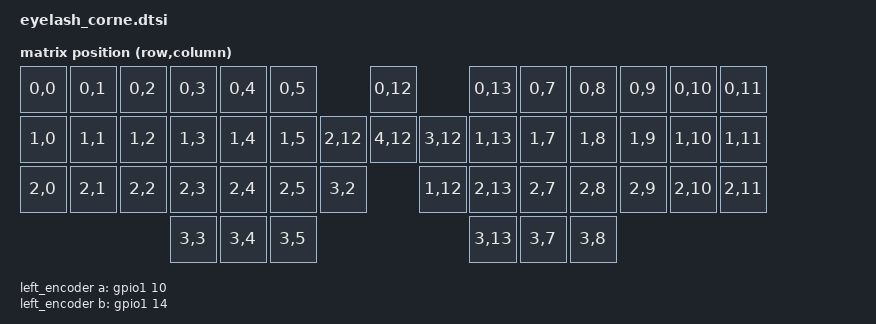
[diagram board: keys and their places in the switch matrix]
/*
*
* Copyright (c) 2021 Darryl deHaan
* SPDX-License-Identifier: MIT
*
*/

#include <dt-bindings/led/led.h>
#include <dt-bindings/zmk/matrix_transform.h>
#include "eyelash_corne-layouts.dtsi"

/ {

    chosen {
        zmk,kscan = &kscan0;
        zmk,battery = &vbatt;
        zmk,physical-layout = &eyeslash_corne_layout;
        zmk,underglow = &led_strip;
        zmk,backlight = &backlight;

        /*
         * Display is intentionally NOT selected here.
         * The display shield will set:
         *
         * zephyr,display = &nice_view;
         */
    };

    left_encoder: encoder_left {
        compatible = "alps,ec11";
        label = "LEFT_ENCODER";
        steps = <24>;
        a-gpios = <&gpio1 10 (GPIO_ACTIVE_HIGH | GPIO_PULL_UP)>;
        b-gpios = <&gpio1 14 (GPIO_ACTIVE_HIGH | GPIO_PULL_UP)>;
        status = "disabled";
    };

    backlight: pwmleds {
        compatible = "pwm-leds";

        pwm_led_0 {
            pwms = <&pwm0 0 PWM_MSEC(1) PWM_POLARITY_NORMAL>;
        };
    };

    sensors {
        compatible = "zmk,keymap-sensors";
        sensors = <&left_encoder>;
    };

    kscan0: kscan {
        wakeup-source;
        diode-direction = "col2row";
    };

    EXT_POWER {
        compatible = "zmk,ext-power-generic";
        control-gpios = <&gpio0 13 GPIO_ACTIVE_HIGH>;
        init-delay-ms = <50>;
    };

    vbatt: vbatt {
        compatible = "zmk,battery-nrf-vddh";
    };

    default_transform: keymap_transform_0 {
        compatible = "zmk,matrix-transform";
        columns = <14>;
        rows = <5>;

        map = <
            RC(0,0) RC(0,1) RC(0,2) RC(0,3) RC(0,4) RC(0,5)                      RC(0,12)           RC(0,13) RC(0,7) RC(0,8) RC(0,9) RC(0,10) RC(0,11)
            RC(1,0) RC(1,1) RC(1,2) RC(1,3) RC(1,4) RC(1,5)             RC(2,12) RC(4,12) RC(3,12)  RC(1,13) RC(1,7) RC(1,8) RC(1,9) RC(1,10) RC(1,11)
            RC(2,0) RC(2,1) RC(2,2) RC(2,3) RC(2,4) RC(2,5) RC(3,2)              RC(1,12)           RC(2,13) RC(2,7) RC(2,8) RC(2,9) RC(2,10) RC(2,11)
                                    RC(3,3) RC(3,4) RC(3,5)                                         RC(3,13) RC(3,7) RC(3,8)
        >;
    };
};


zephyr_udc0: &usbd {
    compatible = "nordic,nrf-usbd";
    status = "okay";
};


/*
 * Pin configuration
 *
 * Display:
 *   SCK  = P0.20
 *   MOSI = P0.17
 *   MISO = P0.25
 *
 * These are the pins used by the working nice!view firmware.
 */
&pinctrl {

    spi0_default: spi0_default {
        group1 {
            psels = <NRF_PSEL(SPIM_SCK, 0, 20)>,
                    <NRF_PSEL(SPIM_MOSI, 0, 17)>,
                    <NRF_PSEL(SPIM_MISO, 0, 25)>;
        };
    };

    spi0_sleep: spi0_sleep {
        group1 {
            psels = <NRF_PSEL(SPIM_SCK, 0, 20)>,
                    <NRF_PSEL(SPIM_MOSI, 0, 17)>,
                    <NRF_PSEL(SPIM_MISO, 0, 25)>;
            low-power-enable;
        };
    };


    /*
     * RGB underglow
     */
    spi3_default: spi3_default {
        group1 {
            psels = <NRF_PSEL(SPIM_MOSI, 1, 12)>;
        };
    };

    spi3_sleep: spi3_sleep {
        group1 {
            psels = <NRF_PSEL(SPIM_MOSI, 1, 12)>;
            low-power-enable;
        };
    };


    /*
     * Backlight
     */
    pwm0_default: pwm0_default {
        group1 {
            psels = <NRF_PSEL(PWM_OUT0, 1, 13)>;
        };
    };

    pwm0_sleep: pwm0_sleep {
        group1 {
            psels = <NRF_PSEL(PWM_OUT0, 1, 13)>;
            low-power-enable;
        };
    };
};


/*
 * nice!view / LS0XX SPI bus
 *
 * CS = P0.06
 */
nice_view_spi: &spi0 {
    compatible = "nordic,nrf-spim";
    status = "okay";

    pinctrl-0 = <&spi0_default>;
    pinctrl-1 = <&spi0_sleep>;
    pinctrl-names = "default", "sleep";

    cs-gpios = <&gpio0 6 GPIO_ACTIVE_HIGH>;
};


/*
 * RGB underglow
 */
&spi3 {
    compatible = "nordic,nrf-spim";
    status = "okay";

    pinctrl-0 = <&spi3_default>;
    pinctrl-1 = <&spi3_sleep>;
    pinctrl-names = "default", "sleep";

    led_strip: ws2812@0 {
        compatible = "worldsemi,ws2812-spi";

        reg = <0>;
        spi-max-frequency = <4000000>;

        chain-length = <7>;
        spi-one-frame = <0x70>;
        spi-zero-frame = <0x40>;

        color-mapping =
            <LED_COLOR_ID_GREEN
             LED_COLOR_ID_RED
             LED_COLOR_ID_BLUE>;
    };
};


/*
 * Backlight
 */
&pwm0 {
    status = "okay";

    pinctrl-0 = <&pwm0_default>;
    pinctrl-1 = <&pwm0_sleep>;
    pinctrl-names = "default", "sleep";
};
